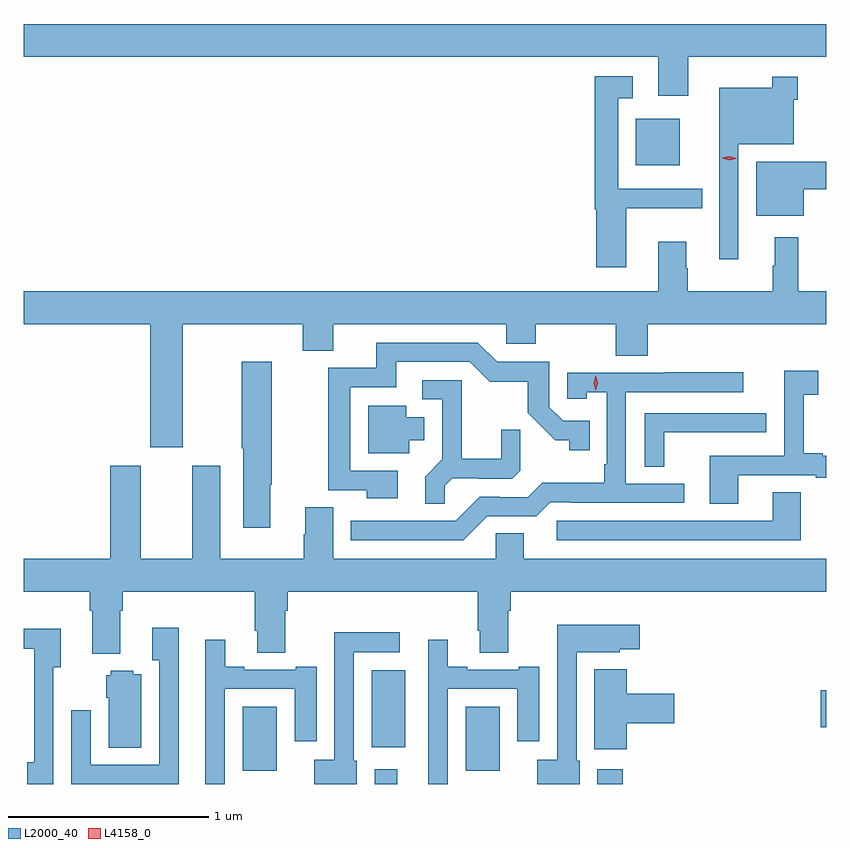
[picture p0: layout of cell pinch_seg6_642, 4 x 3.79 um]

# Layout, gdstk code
import gdstk
lib = gdstk.Library(unit=1e-6, precision=1e-09)
def R(c, l, rs):  # rectangles x0, y0, x1, y1
    for r in rs: c.add(gdstk.rectangle(r[:2], r[2:], *l))
def P(c, l, *ps):  # polygons
    for p in ps: c.add(gdstk.Polygon(p, *l))
L2000_40 = (2000, 40)
L4158_0 = (4158, 0)

pinch_seg6_642 = lib.new_cell('pinch_seg6_642')
R(pinch_seg6_642, L2000_40, [(495.464,947.709,495.577,947.782), (496.574,947.709,496.7,947.782), (494.807,947.774,494.977,948.094), (495.917,947.774,496.087,948.094), (495.449,947.891,495.616,948.277), (497.688,947.993,497.715,948.176), (496.766,950.792,496.984,951.025)])
P(pinch_seg6_642, L2000_40, [(497.026,951.332),(497.715,951.332),(497.715,951.496),(493.715,951.496),(493.715,951.332),(496.877,951.332),(496.877,951.138),(497.026,951.138)],
  [(496.717,950.579),(497.096,950.579),(497.096,950.676),(496.677,950.676),(496.677,951.125),(496.75,951.125),(496.75,951.235),(496.561,951.235),(496.561,950.573),(496.568,950.573),(496.568,950.283),(496.717,950.283)],
  [(497.277,950.897),(497.553,950.897),(497.553,951.119),(497.573,951.119),(497.573,951.232),(497.445,951.232),(497.445,951.178),(497.18,951.178),(497.18,950.801),(497.181,950.801),(497.181,950.325),(497.277,950.325)],
  [(497.602,950.672),(497.715,950.672),(497.715,950.809),(497.366,950.809),(497.366,950.54),(497.602,950.54)],
  [(493.715,950),(494.345,950),(494.345,949.386),(494.509,949.386),(494.509,950),(495.107,950),(495.107,949.867),(495.259,949.867),(495.259,950),(496.119,950),(496.119,949.902),(496.266,949.902),(496.266,950),(496.666,950),(496.666,949.843),(496.826,949.843),(496.826,950),(497.715,950),(497.715,950.164),(497.576,950.164),(497.576,950.434),(497.459,950.434),(497.459,950.291),(497.448,950.291),(497.448,950.164),(497.025,950.164),(497.025,950.279),(497.017,950.279),(497.017,950.41),(496.877,950.41),(496.877,950.164),(493.715,950.164)],
  [(495.58,949.269),(495.342,949.269),(495.342,949.686),(495.571,949.686),(495.571,949.812),(495.939,949.812),(496.038,949.714),(496.227,949.714),(496.227,949.558),(496.364,949.421),(496.434,949.421),(496.434,949.371),(496.535,949.371),(496.535,949.518),(496.404,949.518),(496.335,949.587),(496.335,949.812),(496.074,949.812),(495.978,949.908),(495.473,949.908),(495.473,949.782),(495.234,949.782),(495.234,949.173),(495.424,949.173),(495.424,949.133),(495.58,949.133)],
  [(494.944,949.199),(494.952,949.199),(494.952,949.813),(494.803,949.813),(494.803,949.381),(494.81,949.381),(494.81,948.987),(494.944,948.987)],
  [(497.275,949.248),(497.663,949.248),(497.663,949.236),(497.715,949.236),(497.715,949.344),(497.698,949.344),(497.698,949.357),(497.602,949.357),(497.602,949.648),(497.674,949.648),(497.674,949.768),(497.505,949.768),(497.505,949.344),(497.135,949.344),(497.135,949.105),(497.275,949.105)],
  [(496.026,949.044),(496.269,949.044),(496.338,949.113),(496.438,949.113),(496.438,949.11),(497.008,949.11),(497.008,949.206),(496.716,949.206),(496.716,949.662),(497.302,949.662),(497.302,949.761),(496.909,949.761),(496.909,949.758),(496.425,949.758),(496.425,949.629),(496.521,949.629),(496.521,949.661),(496.62,949.661),(496.62,949.303),(496.608,949.303),(496.608,949.21),(496.3,949.21),(496.227,949.137),(496.088,949.137),(496.088,949.14),(495.987,949.14),(495.867,949.02),(495.344,949.02),(495.344,948.924),(495.906,948.924)],
  [(495.813,949.196),(495.85,949.233),(495.984,949.233),(495.984,949.23),(496.149,949.23),(496.19,949.271),(496.19,949.473),(496.096,949.473),(496.096,949.33),(495.899,949.33),(495.899,949.722),(495.702,949.722),(495.702,949.626),(495.801,949.626),(495.801,949.327),(495.715,949.241),(495.715,949.105),(495.813,949.105)],
  [(495.637,949.421),(495.712,949.421),(495.712,949.537),(495.622,949.537),(495.622,949.594),(495.431,949.594),(495.431,949.358),(495.637,949.358)],
  [(496.908,949.461),(497.303,949.461),(497.303,949.462),(497.416,949.462),(497.416,949.557),(496.809,949.557),(496.809,949.291),(496.908,949.291)],
  [(496.068,948.832),(495.259,948.832),(495.259,949.088),(495.119,949.088),(495.119,948.954),(495.112,948.954),(495.112,948.832),(494.695,948.832),(494.695,949.294),(494.555,949.294),(494.555,948.832),(494.299,948.832),(494.299,949.294),(494.147,949.294),(494.147,948.832),(493.715,948.832),(493.715,948.668),(494.045,948.668),(494.045,948.572),(494.057,948.572),(494.057,948.359),(494.197,948.359),(494.197,948.572),(494.21,948.572),(494.21,948.668),(494.867,948.668),(494.867,948.472),(494.879,948.472),(494.879,948.364),(495.019,948.364),(495.019,948.572),(495.032,948.572),(495.032,948.668),(495.977,948.668),(495.977,948.472),(495.989,948.472),(495.989,948.364),(496.129,948.364),(496.129,948.572),(496.142,948.572),(496.142,948.668),(497.715,948.668),(497.715,948.832),(496.207,948.832),(496.207,948.959),(496.068,948.959)],
  [(497.587,949.163),(497.447,949.163),(497.447,949.02),(496.371,949.02),(496.371,948.924),(497.587,948.924)],
  [(496.486,947.826),(496.47,947.826),(496.47,948.365),(496.686,948.365),(496.686,948.38),(496.786,948.38),(496.786,948.502),(496.374,948.502),(496.374,947.83),(496.274,947.83),(496.274,947.709),(496.486,947.709)],
  [(494.488,948.487),(494.357,948.487),(494.357,948.326),(494.391,948.326),(494.391,947.805),(494.049,947.805),(494.049,948.076),(493.953,948.076),(493.953,947.709),(494.488,947.709)],
  [(493.863,948.29),(493.9,948.29),(493.9,948.482),(493.715,948.482),(493.715,948.384),(493.767,948.384),(493.767,947.818),(493.733,947.818),(493.733,947.709),(493.863,947.709)],
  [(495.376,947.826),(495.36,947.826),(495.36,948.366),(495.589,948.366),(495.589,948.464),(495.264,948.464),(495.264,947.83),(495.164,947.83),(495.164,947.709),(495.376,947.709)],
  [(495.828,948.183),(496.175,948.183),(496.175,947.922),(496.285,947.922),(496.285,948.292),(496.181,948.292),(496.181,948.279),(495.925,948.279),(495.925,948.292),(495.829,948.292),(495.829,948.427),(495.732,948.427),(495.732,947.709),(495.828,947.709)],
  [(494.718,948.183),(495.065,948.183),(495.065,947.922),(495.175,947.922),(495.175,948.292),(495.071,948.292),(495.071,948.279),(494.815,948.279),(494.815,948.292),(494.719,948.292),(494.719,948.427),(494.621,948.427),(494.621,947.709),(494.718,947.709)],
  [(496.721,948.011),(496.957,948.011),(496.957,948.158),(496.721,948.158),(496.721,948.28),(496.559,948.28),(496.559,947.883),(496.721,947.883)],
  [(494.302,948.256),(494.262,948.256),(494.262,948.274),(494.148,948.274),(494.148,948.252),(494.126,948.252),(494.126,948.138),(494.138,948.138),(494.138,947.89),(494.302,947.89)])
P(pinch_seg6_642, L4158_0, [(497.231,950.817),(497.196,950.828),(497.195,950.829),(497.196,950.829),(497.231,950.837),(497.266,950.826),(497.267,950.826),(497.266,950.825)],
  [(496.567,949.671),(496.567,949.671),(496.557,949.707),(496.567,949.743),(496.567,949.743),(496.567,949.743),(496.577,949.707),(496.567,949.671)])

lib.write_gds('pinch_seg6_642.gds')
